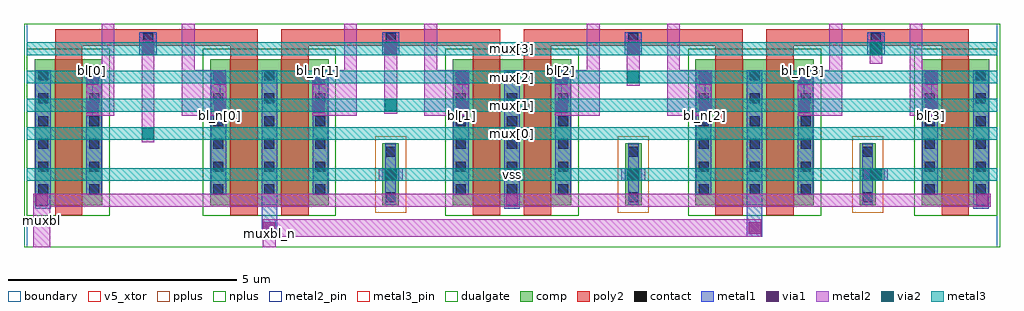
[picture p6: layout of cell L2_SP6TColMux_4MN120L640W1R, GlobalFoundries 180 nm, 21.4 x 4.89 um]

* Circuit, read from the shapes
.subckt L2_SP6TColMux_4MN120L640W1R bl[0] bl[1] bl[2] bl[3] bl_n[0] bl_n[1] bl_n[2] bl_n[3] mux[0] mux[1] mux[2] mux[3] muxbl muxbl_n vss
XM1 bl[0] mux[0] muxbl vss nfet_05v0 w=3.2u l=0.6u
XM2 muxbl_n mux[0] bl_n[0] vss nfet_05v0 w=3.2u l=0.6u
XM3 bl_n[1] mux[1] muxbl_n vss nfet_05v0 w=3.2u l=0.6u
XM4 muxbl mux[1] bl[1] vss nfet_05v0 w=3.2u l=0.6u
XM5 bl[2] mux[2] muxbl vss nfet_05v0 w=3.2u l=0.6u
XM6 muxbl_n mux[2] bl_n[2] vss nfet_05v0 w=3.2u l=0.6u
XM7 bl_n[3] mux[3] muxbl_n vss nfet_05v0 w=3.2u l=0.6u
XM8 muxbl mux[3] bl[3] vss nfet_05v0 w=3.2u l=0.6u
.ends

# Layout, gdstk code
import gdstk
lib = gdstk.Library(unit=1e-6, precision=1e-09)
def R(c, l, rs):  # rectangles x0, y0, x1, y1
    for r in rs: c.add(gdstk.rectangle(r[:2], r[2:], *l))
def A(c, l, x, y, w, h, nx, ny, dx, dy):  # array of equal rectangles
    R(c, l, [(x+i*dx, y+j*dy, x+i*dx+w, y+j*dy+h) for i in range(nx) for j in range(ny)])
def P(c, l, *ps):  # polygons
    for p in ps: c.add(gdstk.Polygon(p, *l))
boundary = (0, 0)
comp = (22, 0)
poly2 = (30, 0)
pplus = (31, 0)
nplus = (32, 0)
contact = (33, 0)
metal1 = (34, 0)
via1 = (35, 0)
metal2 = (36, 0)
metal2_pin = (36, 10)
via2 = (38, 0)
metal3 = (42, 0)
metal3_pin = (42, 10)
dualgate = (55, 0)
v5_xtor = (112, 1)

l2_sp6tcolmux_4mn120l640 = lib.new_cell('L2_SP6TColMux_4MN120L640W1R')
R(l2_sp6tcolmux_4mn120l640, boundary, [(0,0,21.28,4.895)])
A(l2_sp6tcolmux_4mn120l640, comp, 4.02, 0.915, 2.6, 3.2, 3, 1, 5.32, 0)
R(l2_sp6tcolmux_4mn120l640, comp, [(0.18,0.915,1.66,4.115), (7.8,0.915,8.16,2.275), (13.12,0.915,13.48,2.275), (18.26,0.915,18.62,2.275), (19.62,0.915,21.1,4.115)])
P(l2_sp6tcolmux_4mn120l640, poly2, [(5.58,0.695),(5.58,4.775),(10.38,4.775),(10.38,0.695),(9.78,0.695),(9.78,4.415),(6.18,4.415),(6.18,0.695)],
  [(10.9,0.695),(10.9,4.775),(15.7,4.775),(15.7,0.695),(15.1,0.695),(15.1,4.415),(11.5,4.415),(11.5,0.695)],
  [(0.62,0.695),(0.62,4.775),(5.06,4.775),(5.06,0.695),(4.46,0.695),(4.46,4.415),(1.22,4.415),(1.22,0.695)],
  [(16.22,0.695),(16.22,4.775),(20.66,4.775),(20.66,0.695),(20.06,0.695),(20.06,4.415),(16.82,4.415),(16.82,0.695)])
R(l2_sp6tcolmux_4mn120l640, pplus, [(7.64,0.755,8.32,2.435), (12.96,0.755,13.64,2.435), (18.1,0.755,18.78,2.435)])
A(l2_sp6tcolmux_4mn120l640, nplus, 3.86, 0.685, 2.92, 3.66, 3, 1, 5.32, 0)
R(l2_sp6tcolmux_4mn120l640, nplus, [(0,0.685,1.82,4.345), (19.46,0.685,21.28,4.345)])
A(l2_sp6tcolmux_4mn120l640, contact, 7.87, 0.985, 0.22, 0.22, 1, 3, 0, 0.5)
A(l2_sp6tcolmux_4mn120l640, contact, 13.19, 0.985, 0.22, 0.22, 1, 3, 0, 0.5)
A(l2_sp6tcolmux_4mn120l640, contact, 18.33, 0.985, 0.22, 0.22, 1, 3, 0, 0.5)
A(l2_sp6tcolmux_4mn120l640, contact, 0.25, 1.155, 0.22, 0.22, 1, 6, 0, 0.5)
A(l2_sp6tcolmux_4mn120l640, contact, 1.37, 1.155, 0.22, 0.22, 1, 6, 0, 0.5)
A(l2_sp6tcolmux_4mn120l640, contact, 4.09, 1.155, 0.22, 0.22, 3, 6, 1.12, 0.5)
A(l2_sp6tcolmux_4mn120l640, contact, 9.41, 1.155, 0.22, 0.22, 3, 6, 1.12, 0.5)
A(l2_sp6tcolmux_4mn120l640, contact, 14.73, 1.155, 0.22, 0.22, 3, 6, 1.12, 0.5)
A(l2_sp6tcolmux_4mn120l640, contact, 19.69, 1.155, 0.22, 0.22, 1, 6, 0, 0.5)
A(l2_sp6tcolmux_4mn120l640, contact, 20.81, 1.155, 0.22, 0.22, 1, 6, 0, 0.5)
A(l2_sp6tcolmux_4mn120l640, contact, 2.55, 4.485, 0.22, 0.22, 4, 1, 5.32, 0)
A(l2_sp6tcolmux_4mn120l640, metal1, 0.19, 0.84, 0.34, 3.04, 3, 1, 10.28, 0)
A(l2_sp6tcolmux_4mn120l640, metal1, 2.47, 4.22, 0.38, 0.49, 4, 1, 5.32, 0)
R(l2_sp6tcolmux_4mn120l640, metal1, [(5.15,0.23,5.49,3.88), (15.79,0.23,16.13,3.88), (1.31,1.15,1.65,3.88), (4.03,1.15,4.37,3.88), (6.27,1.15,6.61,3.88), (9.35,1.15,9.69,3.88), (11.59,1.15,11.93,3.88), (14.67,1.15,15.01,3.88), (16.91,1.15,17.25,3.88), (19.63,1.15,19.97,3.88)])
P(l2_sp6tcolmux_4mn120l640, metal1, [(18.325,0.925),(18.325,2.265),(18.555,2.265),(18.555,1.72),(18.81,1.72),(18.81,1.46),(18.555,1.46),(18.555,0.925)],
  [(7.865,0.925),(7.865,1.46),(7.79,1.46),(7.79,1.72),(7.865,1.72),(7.865,2.265),(8.095,2.265),(8.095,1.72),(8.17,1.72),(8.17,1.46),(8.095,1.46),(8.095,0.925)],
  [(13.185,0.925),(13.185,1.46),(13.11,1.46),(13.11,1.72),(13.185,1.72),(13.185,2.265),(13.415,2.265),(13.415,1.72),(13.49,1.72),(13.49,1.46),(13.415,1.46),(13.415,0.925)])
A(l2_sp6tcolmux_4mn120l640, via1, 0.2, 0.9, 0.26, 0.26, 3, 1, 10.31, 0)
A(l2_sp6tcolmux_4mn120l640, via1, 7.85, 1.46, 0.26, 0.26, 3, 1, 5.32, 0)
A(l2_sp6tcolmux_4mn120l640, via1, 2.53, 4.22, 0.26, 0.26, 4, 1, 5.32, 0)
R(l2_sp6tcolmux_4mn120l640, via1, [(5.19,0.29,5.45,0.55), (15.83,0.29,16.09,0.55), (1.31,2.94,1.57,3.2), (4.11,2.94,4.37,3.2), (6.27,2.94,6.53,3.2), (9.43,2.94,9.69,3.2), (11.59,2.94,11.85,3.2), (14.75,2.94,15.01,3.2), (16.91,2.94,17.17,3.2), (19.71,2.94,19.97,3.2), (1.31,3.56,1.57,3.82), (4.11,3.56,4.37,3.82), (6.27,3.56,6.53,3.82), (9.43,3.56,9.69,3.82), (11.59,3.56,11.85,3.82), (14.75,3.56,15.01,3.82), (16.91,3.56,17.17,3.82), (19.71,3.56,19.97,3.82)])
A(l2_sp6tcolmux_4mn120l640, metal2, 7.72, 1.45, 0.52, 0.28, 3, 1, 5.32, 0)
R(l2_sp6tcolmux_4mn120l640, metal2, [(2.52,2.3,2.8,4.54), (7.84,2.92,8.12,4.54), (13.16,3.54,13.44,4.54), (18.48,4.02,18.76,4.54)])
P(l2_sp6tcolmux_4mn120l640, metal2, [(19.36,2.88),(19.36,4.895),(19.64,4.895),(19.64,3.88),(19.98,3.88),(19.98,2.88)],
  [(6.26,2.88),(6.26,3.88),(6.96,3.88),(6.96,4.895),(7.24,4.895),(7.24,2.88)],
  [(11.58,2.88),(11.58,3.88),(12.28,3.88),(12.28,4.895),(12.56,4.895),(12.56,2.88)],
  [(16.9,2.88),(16.9,3.88),(17.6,3.88),(17.6,4.895),(17.88,4.895),(17.88,2.88)],
  [(5.18,0),(5.18,0.61),(16.1,0.61),(16.1,0.23),(5.46,0.23),(5.46,0)],
  [(3.4,2.88),(3.4,4.895),(3.68,4.895),(3.68,3.88),(4.38,3.88),(4.38,2.88)],
  [(8.72,2.88),(8.72,4.895),(9,4.895),(9,3.88),(9.7,3.88),(9.7,2.88)],
  [(14.04,2.88),(14.04,4.895),(14.32,4.895),(14.32,3.88),(15.02,3.88),(15.02,2.88)],
  [(1.3,2.88),(1.3,3.88),(1.64,3.88),(1.64,4.895),(1.92,4.895),(1.92,2.88)],
  [(0.14,0),(0.14,1.17),(21.14,1.17),(21.14,0.89),(0.52,0.89),(0.52,0)])
R(l2_sp6tcolmux_4mn120l640, metal2_pin, [(0.14,0,0.52,1.17), (5.18,0,5.46,0.61)])
P(l2_sp6tcolmux_4mn120l640, metal2_pin, [(19.36,2.88),(19.36,4.895),(19.64,4.895),(19.64,3.88),(19.84,3.88),(19.84,2.88)],
  [(6.4,2.88),(6.4,3.88),(6.96,3.88),(6.96,4.895),(7.24,4.895),(7.24,2.88)],
  [(11.72,2.88),(11.72,3.88),(12.28,3.88),(12.28,4.895),(12.56,4.895),(12.56,2.88)],
  [(17.04,2.88),(17.04,3.88),(17.6,3.88),(17.6,4.895),(17.88,4.895),(17.88,2.88)],
  [(3.4,2.88),(3.4,4.895),(3.68,4.895),(3.68,3.88),(4.24,3.88),(4.24,2.88)],
  [(8.72,2.88),(8.72,4.895),(9,4.895),(9,3.88),(9.56,3.88),(9.56,2.88)],
  [(14.04,2.88),(14.04,4.895),(14.32,4.895),(14.32,3.88),(14.88,3.88),(14.88,2.88)],
  [(1.44,2.88),(1.44,3.88),(1.64,3.88),(1.64,4.895),(1.92,4.895),(1.92,2.88)])
A(l2_sp6tcolmux_4mn120l640, via2, 7.85, 1.46, 0.26, 0.26, 3, 1, 5.32, 0)
R(l2_sp6tcolmux_4mn120l640, via2, [(2.53,2.36,2.79,2.62), (7.85,2.98,8.11,3.24), (13.17,3.6,13.43,3.86), (18.49,4.22,18.75,4.48)])
A(l2_sp6tcolmux_4mn120l640, metal3, 0, 2.35, 21.28, 0.28, 1, 4, 0, 0.62)
R(l2_sp6tcolmux_4mn120l640, metal3, [(0,1.45,21.28,1.73)])
A(l2_sp6tcolmux_4mn120l640, metal3_pin, 0, 2.35, 21.28, 0.28, 1, 4, 0, 0.62)
R(l2_sp6tcolmux_4mn120l640, metal3_pin, [(0,1.45,21.28,1.73)])
R(l2_sp6tcolmux_4mn120l640, dualgate, [(-0.06,0,21.34,4.895)])
R(l2_sp6tcolmux_4mn120l640, v5_xtor, [(0.615,0.91,1.225,4.12), (4.455,0.91,5.065,4.12), (5.575,0.91,6.185,4.12), (9.775,0.91,10.385,4.12), (10.895,0.91,11.505,4.12), (15.095,0.91,15.705,4.12), (16.215,0.91,16.825,4.12), (20.055,0.91,20.665,4.12)])
l2_sp6tcolmux_4mn120l640.add(gdstk.Label('mux[3]', (10.64,4.35), layer=42, texttype=10))
l2_sp6tcolmux_4mn120l640.add(gdstk.Label('mux[2]', (10.64,3.73), layer=42, texttype=10))
l2_sp6tcolmux_4mn120l640.add(gdstk.Label('mux[1]', (10.64,3.11), layer=42, texttype=10))
l2_sp6tcolmux_4mn120l640.add(gdstk.Label('mux[0]', (10.64,2.49), layer=42, texttype=10))
l2_sp6tcolmux_4mn120l640.add(gdstk.Label('vss', (10.64,1.59), layer=42, texttype=10))
l2_sp6tcolmux_4mn120l640.add(gdstk.Label('bl_n[3]', (17.04,3.88), layer=36, texttype=10))
l2_sp6tcolmux_4mn120l640.add(gdstk.Label('bl[2]', (11.72,3.88), layer=36, texttype=10))
l2_sp6tcolmux_4mn120l640.add(gdstk.Label('bl_n[1]', (6.4,3.88), layer=36, texttype=10))
l2_sp6tcolmux_4mn120l640.add(gdstk.Label('bl[3]', (19.84,2.88), layer=36, texttype=10))
l2_sp6tcolmux_4mn120l640.add(gdstk.Label('bl_n[2]', (14.88,2.88), layer=36, texttype=10))
l2_sp6tcolmux_4mn120l640.add(gdstk.Label('muxbl_n', (5.32,0.305), layer=36, texttype=10))
l2_sp6tcolmux_4mn120l640.add(gdstk.Label('bl[1]', (9.56,2.88), layer=36, texttype=10))
l2_sp6tcolmux_4mn120l640.add(gdstk.Label('bl_n[0]', (4.24,2.88), layer=36, texttype=10))
l2_sp6tcolmux_4mn120l640.add(gdstk.Label('bl[0]', (1.44,3.88), layer=36, texttype=10))
l2_sp6tcolmux_4mn120l640.add(gdstk.Label('muxbl', (0.33,0.585), layer=36, texttype=10))

lib.write_gds('L2_SP6TColMux_4MN120L640W1R.gds')
